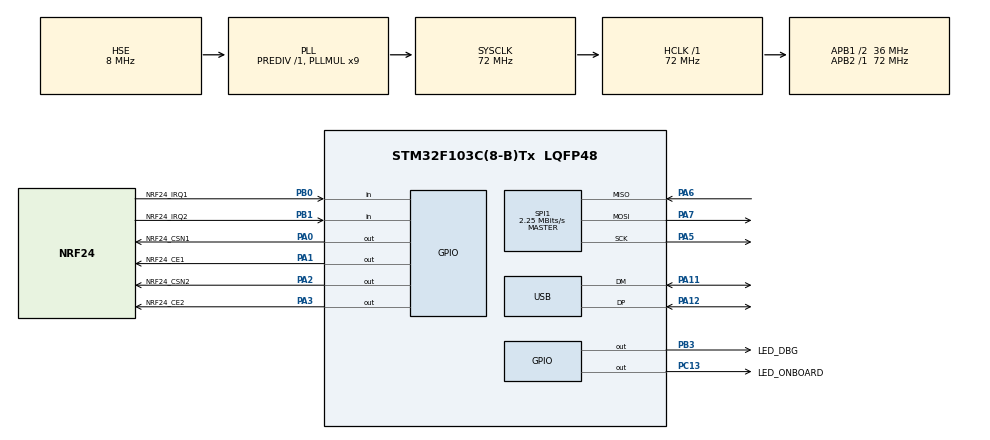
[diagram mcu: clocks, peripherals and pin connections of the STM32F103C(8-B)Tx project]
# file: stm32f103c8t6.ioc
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Mcu.Family=STM32F1
Mcu.Name=STM32F103C(8-B)Tx
Mcu.Package=LQFP48
NVIC.PriorityGroup=NVIC_PRIORITYGROUP_4
NVIC.SPI1_IRQn=true\:0\:0\:false\:false\:true
NVIC.USB_LP_CAN1_RX0_IRQn=true\:0\:0\:false\:false\:true
PA0-WKUP.GPIO_Label=NRF24_CSN1
PA0-WKUP.Signal=GPIO_Output
PA1.GPIO_Label=NRF24_CE1
PA1.Signal=GPIO_Output
PA11.Mode=Device
PA11.Signal=USB_DM
PA12.Mode=Device
PA12.Signal=USB_DP
PA13.Mode=Serial_Wire
PA13.Signal=SYS_JTMS-SWDIO
PA14.Mode=Serial_Wire
PA14.Signal=SYS_JTCK-SWCLK
PA2.GPIO_Label=NRF24_CSN2
PA2.Signal=GPIO_Output
PA3.GPIO_Label=NRF24_CE2
PA3.Signal=GPIO_Output
PA5.Mode=Full_Duplex_Master
PA5.Signal=SPI1_SCK
PA6.Mode=Full_Duplex_Master
PA6.Signal=SPI1_MISO
PA7.Mode=Full_Duplex_Master
PA7.Signal=SPI1_MOSI
PB0.GPIO_Label=NRF24_IRQ1
PB0.GPIO_PuPd=GPIO_PULLUP
PB0.Signal=GPIO_Input
PB1.GPIO_Label=NRF24_IRQ2
PB1.GPIO_PuPd=GPIO_PULLUP
PB1.Signal=GPIO_Input
PB3.GPIO_Label=LED_DBG
PB3.GPIO_Speed=GPIO_SPEED_FREQ_HIGH
PB3.Signal=GPIO_Output
PC13-TAMPER-RTC.GPIO_Label=LED_ONBOARD
PC13-TAMPER-RTC.GPIO_Speed=GPIO_SPEED_FREQ_LOW
PC13-TAMPER-RTC.Signal=GPIO_Output
PD0-OSC_IN.Mode=HSE-External-Oscillator
PD0-OSC_IN.Signal=RCC_OSC_IN
PD1-OSC_OUT.Mode=HSE-External-Oscillator
PD1-OSC_OUT.Signal=RCC_OSC_OUT
ProjectManager.HeapSize=0x200
ProjectManager.StackSize=0x400
ProjectManager.TargetToolchain=SW4STM32
RCC.ADCPresc=RCC_ADCPCLK2_DIV6
RCC.AHBFreq_Value=72000000
RCC.APB1CLKDivider=RCC_HCLK_DIV2
RCC.APB1Freq_Value=36000000
RCC.APB1TimFreq_Value=72000000
RCC.APB2Freq_Value=72000000
RCC.APB2TimFreq_Value=72000000
RCC.HCLKFreq_Value=72000000
RCC.HSIState=RCC_HSI_ON
RCC.PLLMUL=RCC_PLL_MUL9
RCC.PLLSourceVirtual=RCC_PLLSOURCE_HSE
RCC.SYSCLKFreq_VALUE=72000000
RCC.SYSCLKSource=RCC_SYSCLKSOURCE_PLLCLK
RCC.USBFreq_Value=48000000
RCC.USBPrescaler=RCC_USBCLKSOURCE_PLL_DIV1_5
SPI1.BaudRatePrescaler=SPI_BAUDRATEPRESCALER_32
SPI1.CalculateBaudRate=2.25 MBits/s
SPI1.Mode=SPI_MODE_MASTER
USB_DEVICE.CLASS_NAME_FS=CDC
USB_DEVICE.USBD_HandleTypeDef=hUsbDeviceFS
USB_DEVICE.VirtualMode=Cdc
USB_DEVICE.VirtualModeFS=Cdc_FS
VP_TIM2_VS_ClockSourceINT.Mode=Internal
VP_USB_DEVICE_VS_USB_DEVICE_CDC_FS.Mode=CDC_FS
board=stm32f103c8t6

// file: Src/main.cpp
/**
  ******************************************************************************
  * File Name          : main.c
  * Description        : Main program body
  ******************************************************************************
  *
  * COPYRIGHT(c) 2016 STMicroelectronics
  *
  * Redistribution and use in source and binary forms, with or without
  *modification,
  * are permitted provided that the following conditions are met:
  *   1. Redistributions of source code must retain the above copyright notice,
  *      this list of conditions and the following disclaimer.
  *   2. Redistributions in binary form must reproduce the above copyright
  *notice,
  *      this list of conditions and the following disclaimer in the
  *documentation
  *      and/or other materials provided with the distribution.
  *   3. Neither the name of STMicroelectronics nor the names of its
  *contributors
  *      may be used to endorse or promote products derived from this software
  *      without specific prior written permission.
  *
  * THIS SOFTWARE IS PROVIDED BY THE COPYRIGHT HOLDERS AND CONTRIBUTORS "AS IS"
  * AND ANY EXPRESS OR IMPLIED WARRANTIES, INCLUDING, BUT NOT LIMITED TO, THE
  * IMPLIED WARRANTIES OF MERCHANTABILITY AND FITNESS FOR A PARTICULAR PURPOSE
  *ARE
  * DISCLAIMED. IN NO EVENT SHALL THE COPYRIGHT HOLDER OR CONTRIBUTORS BE LIABLE
  * FOR ANY DIRECT, INDIRECT, INCIDENTAL, SPECIAL, EXEMPLARY, OR CONSEQUENTIAL
  * DAMAGES (INCLUDING, BUT NOT LIMITED TO, PROCUREMENT OF SUBSTITUTE GOODS OR
  * SERVICES; LOSS OF USE, DATA, OR PROFITS; OR BUSINESS INTERRUPTION) HOWEVER
  * CAUSED AND ON ANY THEORY OF LIABILITY, WHETHER IN CONTRACT, STRICT
  *LIABILITY,
  * OR TORT (INCLUDING NEGLIGENCE OR OTHERWISE) ARISING IN ANY WAY OUT OF THE
  *USE
  * OF THIS SOFTWARE, EVEN IF ADVISED OF THE POSSIBILITY OF SUCH DAMAGE.
  *
  ******************************************************************************
  */
#include "mocap_device.h"
#include "stm32f1xx_hal.h"
#include "usb_device.h"

/* USER CODE BEGIN Includes */
#include <stdbool.h>
extern "C" {
#include "infrared.h"
#include "se8r01.h"
#include "sensor.h"
#include "sensor_hub.h"
#include "usbd_cdc_if.h"

#define USE_OLD_MAPPING 1
#include "common.h"
#include "mocap_device.h"
}
// TODO: cleanup when done debugging
/* USER CODE END Includes */

SPI_HandleTypeDef hspi1;

TIM_HandleTypeDef htim2;

/* USER CODE BEGIN PV */
/* Private variables ---------------------------------------------------------*/
const bool _debug = true;

namespace auvir {
extern TIM_HandleTypeDef *const phtim_delay = &htim2;
}

extern GPIO_TypeDef *GPIO_LED_PORT;
extern uint16_t GPIO_LED_PIN;

extern RadioMessage tx_message;
extern RadioDevInfo radiodevinfo;
extern SensorData sensordata;
extern BeamerData beamerdata;
extern IMUData imudata;

/// ===========================================

/* USER CODE END PV */

void SystemClock_Config(void);
static void MX_GPIO_Init(void);
static void MX_SPI1_Init(void);
static void MX_TIM2_Init(void);

/* USER CODE BEGIN PFP */
/* Private function prototypes -----------------------------------------------*/
/* USER CODE END PFP */

/* USER CODE BEGIN 0 */

// USB buffer
extern uint8_t UserRxBufferFS[APP_RX_DATA_SIZE];

extern NRF_Module default_module;
extern NRF_Module data_module;

const NRF24_Mode mode = NRF24_Mode::Receiver;

/* USER CODE END 0 */

int main(void) {

  /* MCU
   * Configuration----------------------------------------------------------*/

  /* Reset of all peripherals, Initializes the Flash interface and the Systick.
   */
  HAL_Init();

  /* Configure the system clock */
  SystemClock_Config();

  /* Initialize all configured peripherals */
  MX_GPIO_Init();
  MX_SPI1_Init();
  MX_USB_DEVICE_Init();
  MX_TIM2_Init();

  /* USER CODE BEGIN 2 */
  // TODO: setting the timer. merge with TIM_Init
  HAL_TIM_Base_Start(&htim2);

  /* USER CODE END 2 */

  /* Infinite loop */
  /* USER CODE BEGIN WHILE */

  setup_radio(&default_module, mode);

  // wait for usb device is configured
  while (!is_usb_configured()) {
    // NOP
  };

  // sigal that USB is OK ==============
  HAL_GPIO_TogglePin(GPIOC, GPIO_PIN_13);
  HAL_Delay(300);
  HAL_GPIO_TogglePin(GPIOC, GPIO_PIN_13);
  HAL_Delay(300);
  HAL_GPIO_TogglePin(GPIOC, GPIO_PIN_13);
  HAL_Delay(300);
  HAL_GPIO_TogglePin(GPIOC, GPIO_PIN_13);
  HAL_Delay(300);
  //====================================

  register_usb_device();

  bool test_usb = false;

  const char *test_str = "Hello, I'm a usbdevice";
  uint8_t buf[32] = {0};
  memcpy(&buf[0], test_str, strlen(test_str));

  while (1) {
    // listening...
    // RXX(&default_module);
    // RXX(&data_module);
    CDC_Transmit_FS((uint8_t *)test_str, strlen(test_str));

    /* USER CODE END WHILE */

  }
}

/** System Clock Configuration
*/
void SystemClock_Config(void) {
  RCC_OscInitTypeDef RCC_OscInitStruct;
  RCC_ClkInitTypeDef RCC_ClkInitStruct;
  RCC_PeriphCLKInitTypeDef PeriphClkInit;

  RCC_OscInitStruct.OscillatorType = RCC_OSCILLATORTYPE_HSE;
  RCC_OscInitStruct.HSEState = RCC_HSE_ON;
  RCC_OscInitStruct.HSEPredivValue = RCC_HSE_PREDIV_DIV1;
  RCC_OscInitStruct.PLL.PLLState = RCC_PLL_ON;
  RCC_OscInitStruct.PLL.PLLSource = RCC_PLLSOURCE_HSE;
  RCC_OscInitStruct.PLL.PLLMUL = RCC_PLL_MUL9;
  HAL_RCC_OscConfig(&RCC_OscInitStruct);

  RCC_ClkInitStruct.ClockType = RCC_CLOCKTYPE_HCLK | RCC_CLOCKTYPE_SYSCLK |
                                RCC_CLOCKTYPE_PCLK1 | RCC_CLOCKTYPE_PCLK2;
  RCC_ClkInitStruct.SYSCLKSource = RCC_SYSCLKSOURCE_PLLCLK;
  RCC_ClkInitStruct.AHBCLKDivider = RCC_SYSCLK_DIV1;
  RCC_ClkInitStruct.APB1CLKDivider = RCC_HCLK_DIV2;
  RCC_ClkInitStruct.APB2CLKDivider = RCC_HCLK_DIV1;
  HAL_RCC_ClockConfig(&RCC_ClkInitStruct, FLASH_LATENCY_2);

  PeriphClkInit.PeriphClockSelection = RCC_PERIPHCLK_USB;
  PeriphClkInit.UsbClockSelection = RCC_USBCLKSOURCE_PLL_DIV1_5;
  HAL_RCCEx_PeriphCLKConfig(&PeriphClkInit);

  HAL_SYSTICK_Config(HAL_RCC_GetHCLKFreq() / 1000);

  HAL_SYSTICK_CLKSourceConfig(SYSTICK_CLKSOURCE_HCLK);

  /* SysTick_IRQn interrupt configuration */
  HAL_NVIC_SetPriority(SysTick_IRQn, 0, 0);
}

/* SPI1 init function */
void MX_SPI1_Init(void) {
  hspi1.Instance = SPI1;
  hspi1.Init.Mode = SPI_MODE_MASTER;
  hspi1.Init.Direction = SPI_DIRECTION_2LINES;
  hspi1.Init.DataSize = SPI_DATASIZE_8BIT;
  hspi1.Init.CLKPolarity = SPI_POLARITY_LOW;
  hspi1.Init.CLKPhase = SPI_PHASE_1EDGE;
  hspi1.Init.NSS = SPI_NSS_SOFT;
  hspi1.Init.BaudRatePrescaler = SPI_BAUDRATEPRESCALER_32;
  hspi1.Init.FirstBit = SPI_FIRSTBIT_MSB;
  hspi1.Init.TIMode = SPI_TIMODE_DISABLE;
  hspi1.Init.CRCCalculation = SPI_CRCCALCULATION_DISABLE;
  hspi1.Init.CRCPolynomial = 10;
  HAL_SPI_Init(&hspi1);
}

/* TIM2 init function */
void MX_TIM2_Init(void) {
  TIM_ClockConfigTypeDef sClockSourceConfig;
  TIM_MasterConfigTypeDef sMasterConfig;

  htim2.Instance = TIM2;
  htim2.Init.Prescaler = 0;
  htim2.Init.CounterMode = TIM_COUNTERMODE_UP;
  htim2.Init.Period = 0;
  htim2.Init.ClockDivision = TIM_CLOCKDIVISION_DIV1;
  HAL_TIM_Base_Init(&htim2);

  sClockSourceConfig.ClockSource = TIM_CLOCKSOURCE_INTERNAL;
  HAL_TIM_ConfigClockSource(&htim2, &sClockSourceConfig);

  sMasterConfig.MasterOutputTrigger = TIM_TRGO_RESET;
  sMasterConfig.MasterSlaveMode = TIM_MASTERSLAVEMODE_DISABLE;
  HAL_TIMEx_MasterConfigSynchronization(&htim2, &sMasterConfig);
}

/** Configure pins as
        * Analog
        * Input
        * Output
        * EVENT_OUT
        * EXTI
*/
void MX_GPIO_Init(void) {
  GPIO_InitTypeDef GPIO_InitStruct;

  /* GPIO Ports Clock Enable */
  __HAL_RCC_GPIOC_CLK_ENABLE();
  __HAL_RCC_GPIOD_CLK_ENABLE();
  __HAL_RCC_GPIOA_CLK_ENABLE();
  __HAL_RCC_GPIOB_CLK_ENABLE();

  /*Configure GPIO pin Output Level */
  HAL_GPIO_WritePin(LED_ONBOARD_Port, LED_ONBOARD_Pin, GPIO_PIN_RESET);

  /*Configure GPIO pin Output Level */
  HAL_GPIO_WritePin(
      GPIOA, NRF24_CSN1_Pin | NRF24_CE1_Pin | NRF24_CSN2_Pin | NRF24_CE2_Pin,
      GPIO_PIN_RESET);

  /*Configure GPIO pin Output Level */
  HAL_GPIO_WritePin(LED_DBG_Port, LED_DBG_Pin, GPIO_PIN_RESET);

  /*Configure GPIO pin : LED_ONBOARD_Pin */
  GPIO_InitStruct.Pin = LED_ONBOARD_Pin;
  GPIO_InitStruct.Mode = GPIO_MODE_OUTPUT_PP;
  GPIO_InitStruct.Speed = GPIO_SPEED_FREQ_LOW;
  HAL_GPIO_Init(LED_ONBOARD_Port, &GPIO_InitStruct);

  /*Configure GPIO pins : NRF24_CSN1_Pin NRF24_CE1_Pin NRF24_CSN2_Pin
   * NRF24_CE2_Pin */
  GPIO_InitStruct.Pin =
      NRF24_CSN1_Pin | NRF24_CE1_Pin | NRF24_CSN2_Pin | NRF24_CE2_Pin;
  GPIO_InitStruct.Mode = GPIO_MODE_OUTPUT_PP;
  GPIO_InitStruct.Speed = GPIO_SPEED_FREQ_LOW;
  HAL_GPIO_Init(GPIOA, &GPIO_InitStruct);

  /*Configure GPIO pins : NRF24_IRQ1_Pin NRF24_IRQ2_Pin */
  GPIO_InitStruct.Pin = NRF24_IRQ1_Pin | NRF24_IRQ2_Pin;
  GPIO_InitStruct.Mode = GPIO_MODE_INPUT;
  GPIO_InitStruct.Pull = GPIO_PULLUP;
  HAL_GPIO_Init(GPIOB, &GPIO_InitStruct);

  /*Configure GPIO pin : LED_DBG_Pin */
  GPIO_InitStruct.Pin = LED_DBG_Pin;
  GPIO_InitStruct.Mode = GPIO_MODE_OUTPUT_PP;
  GPIO_InitStruct.Speed = GPIO_SPEED_FREQ_HIGH;
  HAL_GPIO_Init(LED_DBG_Port, &GPIO_InitStruct);
}

#ifdef USE_FULL_ASSERT

/**
   * @brief Reports the name of the source file and the source line number
   * where the assert_param error has occurred.
   * @param file: pointer to the source file name
   * @param line: assert_param error line source number
   * @retval None
   */
void assert_failed(uint8_t *file, uint32_t line) {
  /* USER CODE BEGIN 6 */
  /* User can add his own implementation to report the file name and line
  number,
  ex: printf("Wrong parameters value: file %s on line %d\r\n", file, line) */
  /* USER CODE END 6 */
}

#endif

/************************ (C) COPYRIGHT STMicroelectronics *****END OF FILE****/
